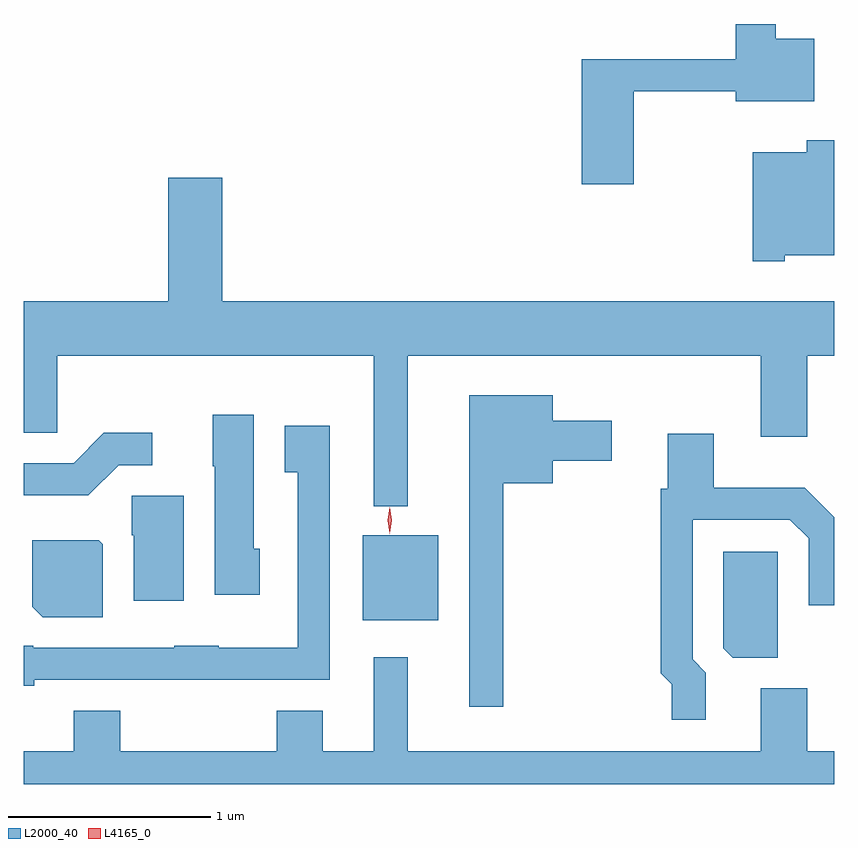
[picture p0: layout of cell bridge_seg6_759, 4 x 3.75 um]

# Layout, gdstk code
import gdstk
lib = gdstk.Library(unit=1e-6, precision=1e-09)
def R(c, l, rs):  # rectangles x0, y0, x1, y1
    for r in rs: c.add(gdstk.rectangle(r[:2], r[2:], *l))
def P(c, l, *ps):  # polygons
    for p in ps: c.add(gdstk.Polygon(p, *l))
L2000_40 = (2000, 40)
L4165_0 = (4165, 0)

bridge_seg6_759 = lib.new_cell('bridge_seg6_759')
R(bridge_seg6_759, L2000_40, [(435.816,1530.971,436.189,1531.389)])
P(bridge_seg6_759, L2000_40, [(437.154,1533.581),(437.656,1533.581),(437.656,1533.531),(438.044,1533.531),(438.044,1533.839),(437.854,1533.839),(437.854,1533.912),(437.656,1533.912),(437.656,1533.739),(436.896,1533.739),(436.896,1533.121),(437.154,1533.121)],
  [(437.899,1532.771),(438.143,1532.771),(438.143,1533.339),(438.006,1533.339),(438.006,1533.279),(437.741,1533.279),(437.741,1532.741),(437.899,1532.741)],
  [(436.039,1532.276),(437.781,1532.276),(437.781,1531.876),(438.009,1531.876),(438.009,1532.276),(438.143,1532.276),(438.143,1532.544),(435.124,1532.544),(435.124,1533.154),(434.856,1533.154),(434.856,1532.544),(434.143,1532.544),(434.143,1531.896),(434.309,1531.896),(434.309,1532.276),(435.871,1532.276),(435.871,1531.533),(436.039,1531.533)],
  [(436.509,1531.646),(436.754,1531.646),(436.754,1531.756),(437.044,1531.756),(437.044,1531.954),(436.754,1531.954),(436.754,1532.079),(436.341,1532.079),(436.341,1530.543),(436.509,1530.543)],
  [(435.309,1531.324),(435.279,1531.324),(435.279,1531.984),(435.076,1531.984),(435.076,1531.73),(435.086,1531.73),(435.086,1531.096),(435.309,1531.096)],
  [(434.194,1530.676),(435.654,1530.676),(435.654,1531.929),(435.431,1531.929),(435.431,1531.701),(435.496,1531.701),(435.496,1530.834),(435.105,1530.834),(435.105,1530.844),(434.885,1530.844),(434.885,1530.834),(434.19,1530.834),(434.19,1530.844),(434.143,1530.844),(434.143,1530.646),(434.194,1530.646)],
  [(434.612,1531.736),(434.778,1531.736),(434.778,1531.894),(434.539,1531.894),(434.389,1531.744),(434.143,1531.744),(434.143,1531.586),(434.462,1531.586)],
  [(437.509,1530.712),(437.444,1530.777),(437.444,1531.466),(437.924,1531.466),(438.016,1531.374),(438.016,1531.043),(438.143,1531.043),(438.143,1531.478),(437.997,1531.624),(437.549,1531.624),(437.549,1531.889),(437.321,1531.889),(437.321,1531.619),(437.286,1531.619),(437.286,1530.709),(437.341,1530.654),(437.341,1530.478),(437.509,1530.478)],
  [(434.934,1531.584),(434.676,1531.584),(434.676,1531.39),(434.686,1531.39),(434.686,1531.066),(434.934,1531.066)],
  [(434.534,1531.344),(434.514,1531.364),(434.186,1531.364),(434.186,1531.037),(434.237,1530.986),(434.534,1530.986)],
  [(437.864,1531.309),(437.596,1531.309),(437.596,1530.832),(437.642,1530.786),(437.864,1530.786)],
  [(438.143,1530.324),(438.009,1530.324),(438.009,1530.634),(437.781,1530.634),(437.781,1530.324),(436.039,1530.324),(436.039,1530.788),(435.871,1530.788),(435.871,1530.324),(435.619,1530.324),(435.619,1530.524),(435.391,1530.524),(435.391,1530.324),(434.619,1530.324),(434.619,1530.524),(434.391,1530.524),(434.391,1530.324),(434.143,1530.324),(434.143,1530.162),(438.143,1530.162)])
P(bridge_seg6_759, L4165_0, [(435.95,1531.398),(435.949,1531.399),(435.94,1531.463),(435.949,1531.527),(435.95,1531.528),(435.95,1531.527),(435.96,1531.463),(435.95,1531.399)])

lib.write_gds('bridge_seg6_759.gds')
